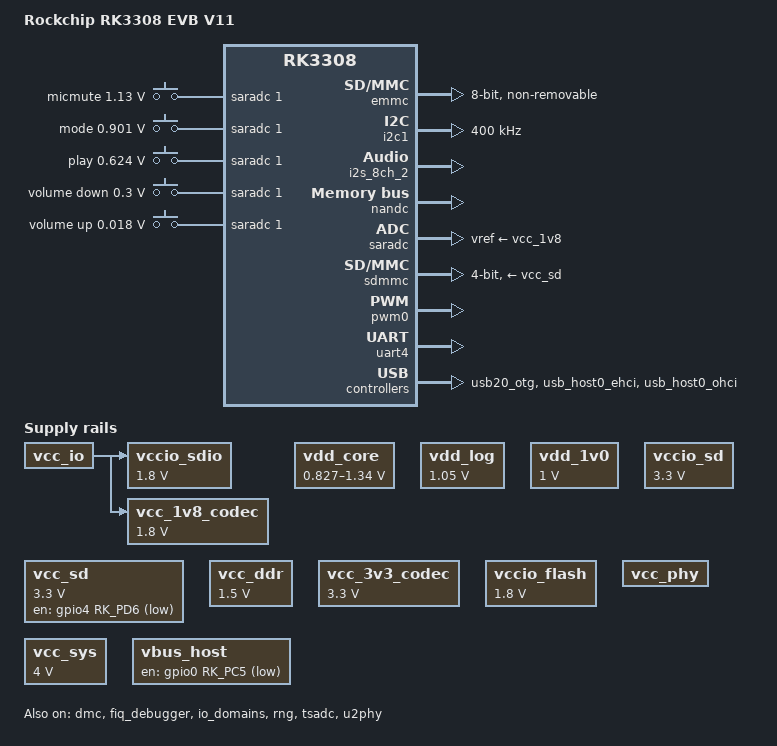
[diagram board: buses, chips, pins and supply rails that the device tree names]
// SPDX-License-Identifier: (GPL-2.0+ OR MIT)
/*
 * Copyright (c) 2018 Fuzhou Rockchip Electronics Co., Ltd
 */

#include <dt-bindings/input/input.h>
#include "rk3308.dtsi"

/ {
	model = "Rockchip RK3308 EVB V11";
	compatible = "rockchip,rk3308-evb-v11", "rockchip,rk3308";

	chosen {
		bootargs = "earlycon=uart8250,mmio32,0xff0c0000 console=ttyFIQ0 swiotlb=1 root=PARTUUID=614e0000-0000 rootfstype=ext4 ro rootwait snd_aloop.index=7";
	};

	adc-keys {
		compatible = "adc-keys";
		io-channels = <&saradc 1>;
		io-channel-names = "buttons";
		poll-interval = <100>;
		keyup-threshold-microvolt = <1800000>;

		esc-key {
			linux,code = <KEY_MICMUTE>;
			label = "micmute";
			press-threshold-microvolt = <1130000>;
		};

		home-key {
			linux,code = <KEY_MODE>;
			label = "mode";
			press-threshold-microvolt = <901000>;
		};

		menu-key {
			linux,code = <KEY_PLAY>;
			label = "play";
			press-threshold-microvolt = <624000>;
		};

		vol-down-key {
			linux,code = <KEY_VOLUMEDOWN>;
			label = "volume down";
			press-threshold-microvolt = <300000>;
		};

		vol-up-key {
			linux,code = <KEY_VOLUMEUP>;
			label = "volume up";
			press-threshold-microvolt = <18000>;
		};
	};

	spdif_rx_sound: spdif-rx-sound {
		status = "disabled";
		compatible = "simple-audio-card";
		simple-audio-card,name = "rockchip,spdif-rx-sound";
		simple-audio-card,cpu {
			sound-dai = <&spdif_rx>;
		};
		simple-audio-card,codec {
			sound-dai = <&dummy_codec>;
		};
	};

	spdif_tx_sound: spdif-tx-sound {
		status = "disabled";
		compatible = "simple-audio-card";
		simple-audio-card,name = "rockchip,spdif-tx-sound";
		simple-audio-card,cpu {
			sound-dai = <&spdif_tx>;
		};
		simple-audio-card,codec {
			sound-dai = <&dummy_codec>;
		};
	};

	dummy_codec: dummy-codec {
		compatible = "rockchip,dummy-codec";
		#sound-dai-cells = <0>;
	};

	acodec_sound: acodec-sound {
		compatible = "rockchip,multicodecs-card";
		rockchip,card-name = "rockchip,rk3308-acodec";
		rockchip,mclk-fs = <256>;
		rockchip,cpu = <&i2s_8ch_2>;
		rockchip,codec = <&acodec>;
		status = "disabled";
	};

	bluetooth_sound: bluetooth-sound {
		status = "disabled";
		compatible = "rockchip,multicodecs-card";
		rockchip,card-name = "rockchip,rk3308-pcm";
		rockchip,mclk-fs = <128>;
		rockchip,cpu = <&i2s_2ch_0>;
		rockchip,codec = <&dummy_codec>;
		rockchip,format = "dsp_b";
		rockchip,wait-card-locked = <0>;
	};

	vdd_core: vdd-core {
		compatible = "pwm-regulator";
		pwms = <&pwm0 0 5000 1>;
		regulator-name = "vdd_core";
		regulator-min-microvolt = <827000>;
		regulator-max-microvolt = <1340000>;
		regulator-init-microvolt = <1015000>;
		regulator-always-on;
		regulator-boot-on;
		regulator-settling-time-up-us = <250>;
		status = "okay";
	};

	vdd_log: vdd-log {
		compatible = "regulator-fixed";
		regulator-name = "vdd_log";
		regulator-always-on;
		regulator-boot-on;
		regulator-min-microvolt = <1050000>;
		regulator-max-microvolt = <1050000>;
	};

	vdd_1v0: vdd-1v0 {
		compatible = "regulator-fixed";
		regulator-name = "vdd_1v0";
		regulator-always-on;
		regulator-boot-on;
		regulator-min-microvolt = <1000000>;
		regulator-max-microvolt = <1000000>;
	};

	vccio_sdio: vcc_1v8: vcc-1v8 {
		compatible = "regulator-fixed";
		regulator-name = "vcc_1v8";
		regulator-always-on;
		regulator-boot-on;
		regulator-min-microvolt = <1800000>;
		regulator-max-microvolt = <1800000>;
		vin-supply = <&vcc_io>;
	};

	vccio_sd: vccio-sd {
		compatible = "regulator-fixed";
		regulator-name = "vccio_sd";
		regulator-always-on;
		regulator-boot-on;
		regulator-min-microvolt = <3300000>;
		regulator-max-microvolt = <3300000>;
	};

	vcc_sd: vcc-sd {
		compatible = "regulator-fixed";
		gpio = <&gpio4 RK_PD6 GPIO_ACTIVE_LOW>;
		regulator-name = "vcc_sd";
		regulator-min-microvolt = <3300000>;
		regulator-max-microvolt = <3300000>;
		regulator-boot-on;
		regulator-always-on;
	};

	vcc_1v8_codec: vcc-1v8-codec {
		compatible = "regulator-fixed";
		regulator-name = "vcc_1v8_codec";
		regulator-always-on;
		regulator-boot-on;
		regulator-min-microvolt = <1800000>;
		regulator-max-microvolt = <1800000>;
		vin-supply = <&vcc_io>;
	};

	vcc_ddr: vcc-ddr {
		compatible = "regulator-fixed";
		regulator-name = "vcc_ddr";
		regulator-always-on;
		regulator-boot-on;
		regulator-min-microvolt = <1500000>;
		regulator-max-microvolt = <1500000>;
	};

	vcc_3v3_codec: vcc_io: vcc-io {
		compatible = "regulator-fixed";
		regulator-name = "vcc_io";
		regulator-always-on;
		regulator-boot-on;
		regulator-min-microvolt = <3300000>;
		regulator-max-microvolt = <3300000>;
	};

	vccio_flash: vccio-flash {
		compatible = "regulator-fixed";
		regulator-name = "vccio_flash";
		regulator-always-on;
		regulator-boot-on;
		regulator-min-microvolt = <1800000>;
		regulator-max-microvolt = <1800000>;
	};

	vcc_phy: vcc-phy-regulator {
		compatible = "regulator-fixed";
		regulator-name = "vcc_phy";
		regulator-always-on;
		regulator-boot-on;
	};

	vcc_sys: vcc-sys {
		compatible = "regulator-fixed";
		regulator-name = "vcc_sys";
		regulator-min-microvolt = <4000000>;
		regulator-max-microvolt = <4000000>;
		regulator-always-on;
	};

	vbus_host: vbus-host-regulator {
		compatible = "regulator-fixed";
		//enable-active-high;
		gpio = <&gpio0 RK_PC5 GPIO_ACTIVE_HIGH>;
		pinctrl-names = "default";
		pinctrl-0 = <&usb_drv>;
		regulator-name = "vbus_host";
	};
};

&acodec {
	status = "disabled";

	rockchip,no-hp-det;
	rockchip,hpout-always-on;
	rockchip,delay-start-play-ms = <200>;
	rockchip,loopback-grp = <1>;
};

&cpu0 {
	cpu-supply = <&vdd_core>;
};

&cpu0_opp_table {
	opp-1200000000 {
		status = "okay";
	};
	opp-1296000000 {
		status = "okay";
	};
};

&dmc {
	center-supply = <&vdd_log>;
	status = "okay";
};

&emmc {
	bus-width = <8>;
	cap-mmc-highspeed;
	mmc-hs200-1_8v;
	supports-emmc;
	disable-wp;
	non-removable;
	num-slots = <1>;
	status = "okay";
};

&fiq_debugger {
	status = "okay";
};

&mac {
	phy-supply = <&vcc_phy>;
	assigned-clocks = <&cru SCLK_MAC>;
	assigned-clock-parents = <&mac_clkin>;
	clock_in_out = "input";
	pinctrl-names = "default";
	pinctrl-0 = <&rmii_pins &mac_refclk>;
	//snps,reset-gpio = <&gpio0 RK_PB2 GPIO_ACTIVE_LOW>;
	//snps,reset-active-low;
	//snps,reset-delays-us = <0 50000 50000>;
	status = "disabled";
};

&io_domains {
	status = "okay";

	vccio0-supply = <&vcc_io>;
	vccio1-supply = <&vcc_io>;
	vccio2-supply = <&vcc_1v8>;
	vccio3-supply = <&vccio_flash>;
	vccio4-supply = <&vccio_sdio>;
	vccio5-supply = <&vccio_sd>;
};

&i2c1 {
	clock-frequency = <400000>;
	status = "okay";
};

&i2s_8ch_1 {
	status = "disabled";
	#sound-dai-cells = <0>;
	pinctrl-names = "default";
	pinctrl-0 = <&i2s_8ch_1_m0_sclktx
		     &i2s_8ch_1_m0_lrcktx
		     &i2s_8ch_1_m0_sdo0
		     &i2s_8ch_1_m0_mclk>;
};

&i2s_8ch_2 {
	status = "okay";
};

&nandc {
	status = "okay";
};

&rockchip_suspend {
	rockchip,pwm-regulator-config = <
		(0
		| RKPM_PWM_REGULATOR
		)
	>;

	status = "okay";
};

&rng {
	status = "okay";
};

&saradc {
	status = "okay";
	vref-supply = <&vcc_1v8>;
};

&sdio {
	bus-width = <4>;
	supports-sdio;
	ignore-pm-notify;
	keep-power-in-suspend;
	non-removable;
	status = "disabled";
};

&sdmmc {
	bus-width = <4>;
	cap-mmc-highspeed;
	cap-sd-highspeed;
	supports-sd;
	card-detect-delay = <300>;
	sd-uhs-sdr25;
	sd-uhs-sdr50;
	sd-uhs-sdr104;
	vmmc-supply = <&vcc_sd>;
	//vqmmc-supply = <&vccio_sd>;
	pinctrl-names = "default";
	pinctrl-0 = <&sdmmc_clk &sdmmc_cmd &sdmmc_det &sdmmc_bus4>;
	status = "okay";
};

&tsadc {
	rockchip,hw-tshut-mode = <0>; /* tshut mode 0:CRU 1:GPIO */
	rockchip,hw-tshut-polarity = <1>; /* tshut polarity 0:LOW 1:HIGH */
	status = "okay";
};

&pinctrl {
	pinctrl-names = "default";
	pinctrl-0 = <&rtc_32k>;

	usb {
		usb_drv: usb-drv {
			rockchip,pins = <0 RK_PC5 RK_FUNC_GPIO &pcfg_pull_none>;
		};
	};
};

&pwm0 {
	status = "okay";
	pinctrl-names = "active";
	pinctrl-0 = <&pwm0_pin_pull_down>;
};

&u2phy {
	status = "okay";

	u2phy_host: host-port {
		phy-supply = <&vbus_host>;
		status = "okay";
	};

	u2phy_otg: otg-port {
		status = "okay";
	};
};

&uart4 {
	pinctrl-names = "default";
	pinctrl-0 = <&uart4_xfer &uart4_cts>;
	status = "okay";
};

&usb20_otg {
	status = "okay";
};

&usb_host0_ehci {
	status = "okay";
};

&usb_host0_ohci{
	status = "okay";
};

